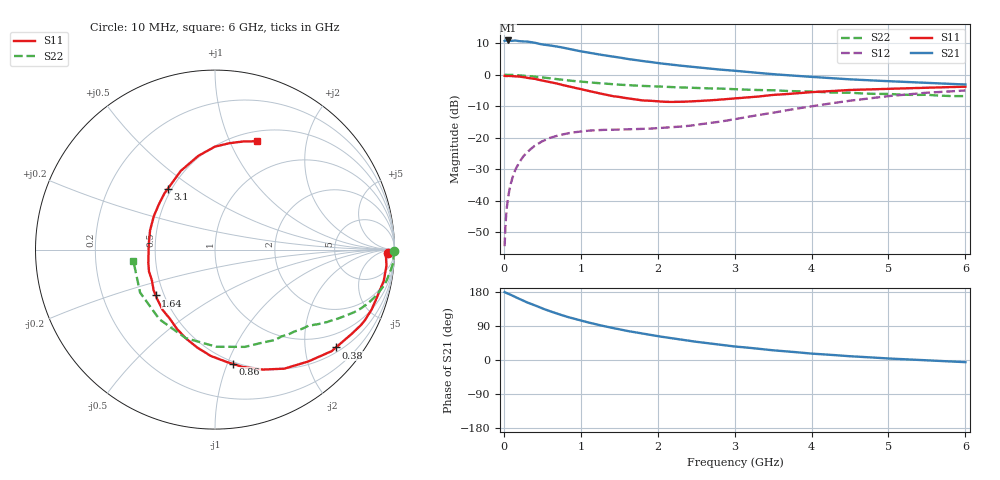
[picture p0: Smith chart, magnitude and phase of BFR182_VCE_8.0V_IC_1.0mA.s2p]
! Infineon Technologies  Discrete & RF Semiconductors
! BFR182
! VCE =  8.0 V,  IC =  1.0 mA
! Common Emitter S-Parameters:  Nov 2015
# GHz  S  MA  R  50
!  f  S11  S21  S12  S22
! GHz  MAG  ANG  MAG  ANG  MAG  ANG  MAG  ANG
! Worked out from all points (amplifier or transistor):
!   210 points, 10 MHz to 6 GHz, reference 50 ohm
!   highest |S21| = 10.9 dB at 50 MHz (marker M1)
!   |S21| within 3 dB of that: start of sweep to 901.1 MHz
!   unconditionally stable (mu >= 1): 1.802 GHz to 3.325 GHz
!   at 185 MHz: K = 0.12, MSG = 19.6 dB, |S12| = -28.5 dB
!   at 1.52 GHz: K = 0.86, MSG = 11.4 dB, |S12| = -17.4 dB
!   at 6 GHz: K = 0.93, MSG = 0.9 dB, |S12| = -5.0 dB
!   S11 on the Smith chart (normalised r, x): 10 MHz: 42, -21; 380 MHz: 0.62, -2.70; 860 MHz: 0.48, -1.05; 1.64 GHz: 0.45, -0.28; 3.1 GHz: 0.48, +0.40; 6 GHz: 0.61, +1.26
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0.01  0.9621 -1.1  3.443 179.3  0.0019 93.7  0.9977 -0.4
0.015  0.9574 -1.5  3.461 178.6  0.0028 91.6  0.9971 -0.6
0.025  0.9536 -2.6  3.482 177.6  0.0048 88.7  0.9964 -1.1
0.05  0.9596 -5.3  3.501 175.4  0.0101 85.4  0.9963 -2.2
0.09  0.9562 -9.5  3.458 172.0  0.0186 84.0  0.9955 -3.9
0.15  0.9429 -15.6  3.495 165.7  0.031 79.6  0.9862 -6.5
0.3  0.8955 -31.5  3.368 152.2  0.0584 71.0  0.959 -12.4
0.38  0.8667 -39.0  3.25 146.1  0.071 66.3  0.939 -15.2
0.5  0.8109 -50.3  3.025 136.0  0.0879 60.4  0.9069 -19.0
0.6  0.7674 -59.8  2.921 128.7  0.0995 56.0  0.8797 -21.7
0.7  0.7201 -68.2  2.804 121.8  0.1083 52.0  0.8493 -24.3
0.86  0.6452 -81.0  2.543 111.9  0.1191 46.9  0.807 -27.5
1.02  0.5842 -93.8  2.331 103.1  0.1264 43.2  0.7733 -30.3
1.3  0.4906 -115.5  2.041 89.5  0.1334 39.3  0.7247 -34.3
1.64  0.4174 -142.3  1.759 75.5  0.136 39.4  0.679 -38.5
2.02  0.377 -170.1  1.524 62.3  0.1424 42.7  0.6506 -43.3
2.5  0.3808 157.4  1.315 48.1  0.1602 50.1  0.6172 -50.8
3.1  0.4286 127.9  1.127 33.9  0.2071 56.1  0.5826 -62.7
3.5  0.4782 113.5  1.021 25.6  0.2491 57.1  0.567 -72.9
4.1  0.5374 98.1  0.908 15.6  0.3294 53.3  0.5324 -92.9
5.1  0.6027 80.8  0.78 3.1  0.469 39.7  0.488 -132.8
6  0.6464 69.0  0.7 -5.7  0.5629 23.7  0.4589 -171.7
